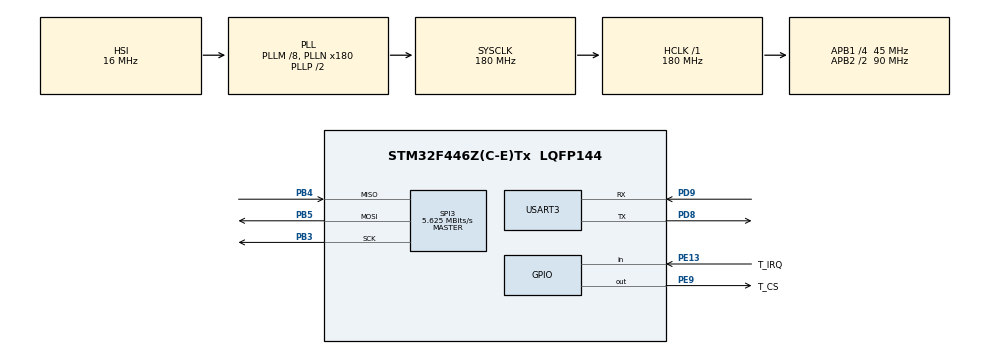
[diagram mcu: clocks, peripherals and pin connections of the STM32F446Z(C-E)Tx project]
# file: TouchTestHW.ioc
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Mcu.Family=STM32F4
Mcu.Name=STM32F446Z(C-E)Tx
Mcu.Package=LQFP144
NVIC.PriorityGroup=NVIC_PRIORITYGROUP_4
PB3.GPIO_PuPd=GPIO_PULLDOWN
PB3.Mode=Full_Duplex_Master
PB3.Signal=SPI3_SCK
PB4.GPIO_PuPd=GPIO_PULLDOWN
PB4.Mode=Full_Duplex_Master
PB4.Signal=SPI3_MISO
PB5.GPIO_PuPd=GPIO_PULLDOWN
PB5.Mode=Full_Duplex_Master
PB5.Signal=SPI3_MOSI
PD8.Mode=Asynchronous
PD8.Signal=USART3_TX
PD9.Mode=Asynchronous
PD9.Signal=USART3_RX
PE13.GPIO_Label=T_IRQ
PE13.Signal=GPIO_Input
PE9.GPIO_Label=T_CS
PE9.GPIO_PuPd=GPIO_PULLUP
PE9.GPIO_Speed=GPIO_SPEED_FREQ_VERY_HIGH
PE9.PinState=GPIO_PIN_SET
PE9.Signal=GPIO_Output
ProjectManager.HeapSize=0x200
ProjectManager.StackSize=0x400
ProjectManager.TargetToolchain=STM32CubeIDE
RCC.AHBFreq_Value=180000000
RCC.APB1CLKDivider=RCC_HCLK_DIV4
RCC.APB1Freq_Value=45000000
RCC.APB1TimFreq_Value=90000000
RCC.APB2CLKDivider=RCC_HCLK_DIV2
RCC.APB2Freq_Value=90000000
RCC.APB2TimFreq_Value=180000000
RCC.CortexFreq_Value=180000000
RCC.HCLKFreq_Value=180000000
RCC.PLLM=8
RCC.PLLN=180
RCC.SYSCLKFreq_VALUE=180000000
RCC.SYSCLKSource=RCC_SYSCLKSOURCE_PLLCLK
RCC.USBFreq_Value=180000000
RCC.VCOOutputFreq_Value=360000000
SPI3.BaudRatePrescaler=SPI_BAUDRATEPRESCALER_8
SPI3.CalculateBaudRate=5.625 MBits/s
SPI3.Direction=SPI_DIRECTION_2LINES
SPI3.Mode=SPI_MODE_MASTER
SPI3.VirtualType=VM_MASTER
USART3.VirtualMode=VM_ASYNC
board=custom

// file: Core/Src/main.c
/* USER CODE BEGIN Header */
/**
  ******************************************************************************
  * @file           : main.c
  * @brief          : Main program body
  ******************************************************************************
  * @attention
  *
  * <h2><center>&copy; Copyright (c) 2020 STMicroelectronics.
  * All rights reserved.</center></h2>
  *
  * This software component is licensed by ST under BSD 3-Clause license,
  * the "License"; You may not use this file except in compliance with the
  * License. You may obtain a copy of the License at:
  *                        opensource.org/licenses/BSD-3-Clause
  *
  ******************************************************************************
  */
/* USER CODE END Header */

#include "main.h"

/* USER CODE BEGIN Includes */
#include <stdio.h>
#include <string.h>
#include "touch.h"

/* USER CODE END Includes */

SPI_HandleTypeDef hspi3;

UART_HandleTypeDef huart3;

void SystemClock_Config(void);
static void MX_GPIO_Init(void);
static void MX_SPI3_Init(void);
static void MX_USART3_UART_Init(void);

int main(void)
{
  /* USER CODE BEGIN 1 */
	uint16_t x, y;
	uint8_t str[16];
	GPIO_InitTypeDef GPIO_InitStruct = {0};
  /* USER CODE END 1 */

  /* MCU Configuration--------------------------------------------------------*/

  /* Reset of all peripherals, Initializes the Flash interface and the Systick. */
  HAL_Init();

  /* Configure the system clock */
  SystemClock_Config();

  /* USER CODE BEGIN SysInit */
  //__HAL_RCC_SPI3_CLK_ENABLE();

  //__HAL_RCC_GPIOB_CLK_ENABLE();
  /**SPI3 GPIO Configuration
  PB3     ------> SPI3_SCK
  PB4     ------> SPI3_MISO
  PB5     ------> SPI3_MOSI
  */
  GPIO_InitStruct.Pin = GPIO_PIN_3|GPIO_PIN_4|GPIO_PIN_5;
  GPIO_InitStruct.Mode = GPIO_MODE_AF_PP;
  GPIO_InitStruct.Pull = GPIO_PULLDOWN;
  GPIO_InitStruct.Speed = GPIO_SPEED_FREQ_VERY_HIGH;
  GPIO_InitStruct.Alternate = GPIO_AF6_SPI3;
  HAL_GPIO_Init(GPIOB, &GPIO_InitStruct);

  /* USER CODE END SysInit */

  /* Initialize all configured peripherals */
  MX_GPIO_Init();
  MX_SPI3_Init();
  MX_USART3_UART_Init();
  /* USER CODE BEGIN 2 */

  //HAL_SPI_DeInit(&hspi3);
  __HAL_SPI_DISABLE(&hspi3);
  x = y = 4095;

  /* USER CODE END 2 */

  /* Infinite loop */
  while (1)
  {

    /* USER CODE BEGIN 3 */
	  XPT2046_Scan();
	  if (XPT2046_GetStatus() & TP_PRES_DOWN) {
		  // For rotate 90
		  y = XPT2046_Read_XOY(CMD_RDX);
		  x = XPT2046_Read_XOY(CMD_RDY);
	  } else {
		  y = x = 4095;
	  }
	  sprintf((char *)str, "%d %d\n", x, y);
	  HAL_UART_Transmit(&huart3, str, strlen((char *)str), 1000);
	  HAL_Delay(100);
	  // x axis from 350 to 3800
	  // y axis from 350 to 3600
  }
  /* USER CODE END 3 */
}

void SystemClock_Config(void)
{
  RCC_OscInitTypeDef RCC_OscInitStruct = {0};
  RCC_ClkInitTypeDef RCC_ClkInitStruct = {0};

  /** Configure the main internal regulator output voltage
  */
  __HAL_RCC_PWR_CLK_ENABLE();
  __HAL_PWR_VOLTAGESCALING_CONFIG(PWR_REGULATOR_VOLTAGE_SCALE1);
  /** Initializes the CPU, AHB and APB busses clocks
  */
  RCC_OscInitStruct.OscillatorType = RCC_OSCILLATORTYPE_HSI;
  RCC_OscInitStruct.HSIState = RCC_HSI_ON;
  RCC_OscInitStruct.HSICalibrationValue = RCC_HSICALIBRATION_DEFAULT;
  RCC_OscInitStruct.PLL.PLLState = RCC_PLL_ON;
  RCC_OscInitStruct.PLL.PLLSource = RCC_PLLSOURCE_HSI;
  RCC_OscInitStruct.PLL.PLLM = 8;
  RCC_OscInitStruct.PLL.PLLN = 180;
  RCC_OscInitStruct.PLL.PLLP = RCC_PLLP_DIV2;
  RCC_OscInitStruct.PLL.PLLQ = 2;
  RCC_OscInitStruct.PLL.PLLR = 2;
  if (HAL_RCC_OscConfig(&RCC_OscInitStruct) != HAL_OK)
  {
    Error_Handler();
  }
  /** Activate the Over-Drive mode
  */
  if (HAL_PWREx_EnableOverDrive() != HAL_OK)
  {
    Error_Handler();
  }
  /** Initializes the CPU, AHB and APB busses clocks
  */
  RCC_ClkInitStruct.ClockType = RCC_CLOCKTYPE_HCLK|RCC_CLOCKTYPE_SYSCLK
                              |RCC_CLOCKTYPE_PCLK1|RCC_CLOCKTYPE_PCLK2;
  RCC_ClkInitStruct.SYSCLKSource = RCC_SYSCLKSOURCE_PLLCLK;
  RCC_ClkInitStruct.AHBCLKDivider = RCC_SYSCLK_DIV1;
  RCC_ClkInitStruct.APB1CLKDivider = RCC_HCLK_DIV4;
  RCC_ClkInitStruct.APB2CLKDivider = RCC_HCLK_DIV2;

  if (HAL_RCC_ClockConfig(&RCC_ClkInitStruct, FLASH_LATENCY_5) != HAL_OK)
  {
    Error_Handler();
  }
}

static void MX_SPI3_Init(void)
{

  /* SPI3 parameter configuration*/
  hspi3.Instance = SPI3;
  hspi3.Init.Mode = SPI_MODE_MASTER;
  hspi3.Init.Direction = SPI_DIRECTION_2LINES;
  hspi3.Init.DataSize = SPI_DATASIZE_8BIT;
  hspi3.Init.CLKPolarity = SPI_POLARITY_LOW;
  hspi3.Init.CLKPhase = SPI_PHASE_1EDGE;
  hspi3.Init.NSS = SPI_NSS_SOFT;
  hspi3.Init.BaudRatePrescaler = SPI_BAUDRATEPRESCALER_8;
  hspi3.Init.FirstBit = SPI_FIRSTBIT_MSB;
  hspi3.Init.TIMode = SPI_TIMODE_DISABLE;
  hspi3.Init.CRCCalculation = SPI_CRCCALCULATION_DISABLE;
  hspi3.Init.CRCPolynomial = 10;
  if (HAL_SPI_Init(&hspi3) != HAL_OK)
  {
    Error_Handler();
  }

}

static void MX_USART3_UART_Init(void)
{

  huart3.Instance = USART3;
  huart3.Init.BaudRate = 115200;
  huart3.Init.WordLength = UART_WORDLENGTH_8B;
  huart3.Init.StopBits = UART_STOPBITS_1;
  huart3.Init.Parity = UART_PARITY_NONE;
  huart3.Init.Mode = UART_MODE_TX_RX;
  huart3.Init.HwFlowCtl = UART_HWCONTROL_NONE;
  huart3.Init.OverSampling = UART_OVERSAMPLING_16;
  if (HAL_UART_Init(&huart3) != HAL_OK)
  {
    Error_Handler();
  }

}

static void MX_GPIO_Init(void)
{
  GPIO_InitTypeDef GPIO_InitStruct = {0};

  /* GPIO Ports Clock Enable */
  __HAL_RCC_GPIOE_CLK_ENABLE();
  __HAL_RCC_GPIOD_CLK_ENABLE();
  __HAL_RCC_GPIOB_CLK_ENABLE();

  /*Configure GPIO pin Output Level */
  HAL_GPIO_WritePin(T_CS_GPIO_Port, T_CS_Pin, GPIO_PIN_SET);

  /*Configure GPIO pin : T_CS_Pin */
  GPIO_InitStruct.Pin = T_CS_Pin;
  GPIO_InitStruct.Mode = GPIO_MODE_OUTPUT_PP;
  GPIO_InitStruct.Pull = GPIO_PULLUP;
  GPIO_InitStruct.Speed = GPIO_SPEED_FREQ_VERY_HIGH;
  HAL_GPIO_Init(T_CS_GPIO_Port, &GPIO_InitStruct);

  /*Configure GPIO pin : T_IRQ_Pin */
  GPIO_InitStruct.Pin = T_IRQ_Pin;
  GPIO_InitStruct.Mode = GPIO_MODE_INPUT;
  GPIO_InitStruct.Pull = GPIO_NOPULL;
  HAL_GPIO_Init(T_IRQ_GPIO_Port, &GPIO_InitStruct);

}

void Error_Handler(void)
{
}

/************************ (C) COPYRIGHT STMicroelectronics *****END OF FILE****/
